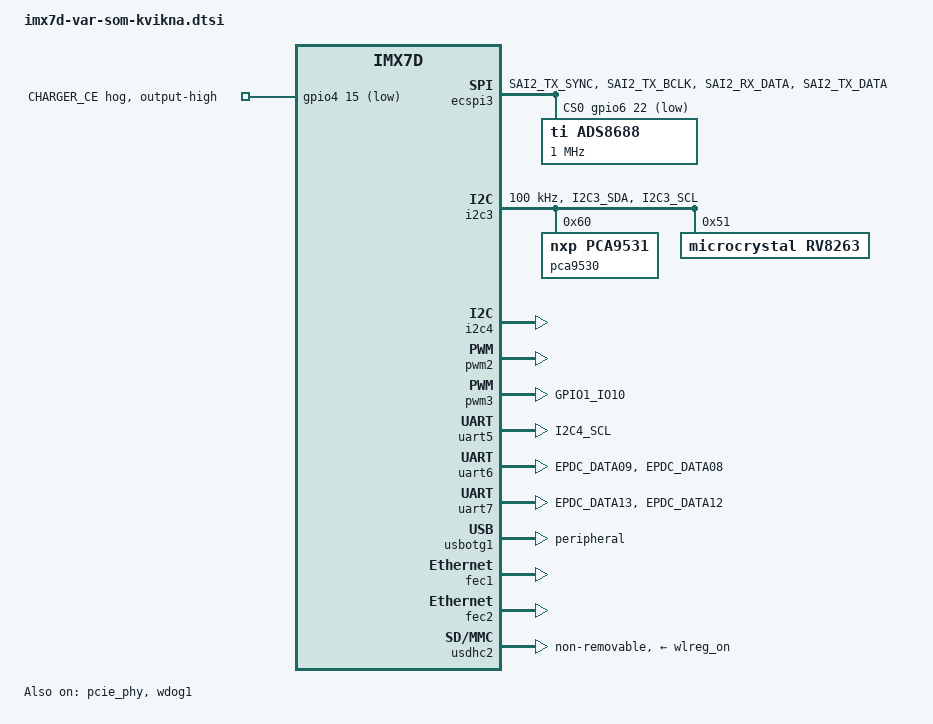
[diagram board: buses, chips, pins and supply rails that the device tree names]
// SPDX-License-Identifier: GPL-2.0+ OR MIT
//
// Kvikna VAR-SOM-MX7 board customisation.
// Ported from the km-amp-dunfell effective DTS diff.

/ {
	/delete-node/ backlight;
	/delete-node/ sound;
	/delete-node/ gpio-keys;
	/delete-node/ pxp_v4l2_out;
};

&adc1 {
	/delete-property/ vref-supply;
	status = "disabled";
};

&adc2 {
	status = "disabled";
};

&csi1 {
	status = "disabled";
	/delete-property/ csi-mux-mipi;
	/delete-property/ fsl,mipi-mode;
	/delete-node/ port;
};

&ecspi1 {
	/delete-node/ ads7846@0;
};

&ecspi3 {
	fsl,spi-num-chipselects = <1>;
	pinctrl-names = "default", "sleep";
	pinctrl-0 = <&pinctrl_ecspi3>;
	cs-gpios = <&gpio6 22 GPIO_ACTIVE_LOW>;
	status = "okay";

	ads8688@0 {
		compatible = "ti,ads8688";
		reg = <0>;
		spi-max-frequency = <1000000>;
	};
};

&flexcan2 {
	status = "disabled";
};

&i2c1 {
	pinctrl-names = "default";
	pinctrl-0 = <&pinctrl_i2c1>;
	/delete-property/ pinctrl-1;
	/delete-property/ scl-gpios;
	/delete-property/ sda-gpios;
};

&i2c2 {
	pinctrl-names = "default";
	pinctrl-0 = <&pinctrl_i2c2>;
	/delete-property/ pinctrl-1;
	/delete-property/ scl-gpios;
	/delete-property/ sda-gpios;
	/delete-node/ audio-codec@1a;
	/delete-node/ wm8731@1a;
	/delete-node/ rtc@68;
	/delete-node/ ov5640_mipi@3c;
};

&i2c3 {
	clock-frequency = <100000>;
	pinctrl-names = "default";
	pinctrl-0 = <&pinctrl_i2c3>;
	status = "okay";

	pca9530@60 {
		compatible = "nxp,pca9531";
		reg = <0x60>;

		green-power {
			label = "pca:green:power";
			type = <1>;
		};
	};

	rv8263@51 {
		compatible = "microcrystal,rv8263";
		reg = <0x51>;
	};
};

&i2c4 {
	status = "okay";
	/delete-property/ clock-frequency;
	/delete-property/ pinctrl-names;
	/delete-property/ pinctrl-0;
	/delete-property/ pinctrl-1;
	/delete-property/ scl-gpios;
	/delete-property/ sda-gpios;
	/delete-node/ ft5x06_ts@38;
};

&lcdif {
	status = "disabled";
	/delete-property/ pinctrl-names;
	/delete-property/ pinctrl-0;
	/delete-property/ display;
	/delete-node/ display0;
};

&mipi_csi {
	status = "disabled";
	/delete-property/ clock-frequency;
	/delete-node/ port;
};

&pcie {
	/delete-property/ pinctrl-names;
	/delete-property/ pinctrl-0;
	/delete-property/ reset-gpio;
	status = "disabled";
};

&pcie_phy {
	status = "okay";
};

&pwm2 {
	pinctrl-names = "default";
	pinctrl-0 = <&pinctrl_pwm2>;
	status = "okay";
};

&pwm3 {
	pinctrl-names = "default";
	pinctrl-0 = <&pinctrl_pwm3>;
	status = "okay";
};

&sai1 {
	#sound-dai-cells = <0>;
	/delete-property/ pinctrl-names;
	/delete-property/ pinctrl-0;
	/delete-property/ pinctrl-1;
	/delete-property/ assigned-clocks;
	/delete-property/ assigned-clock-parents;
	/delete-property/ assigned-clock-rates;
	/delete-property/ fsl,sai-mclk-direction-output;
	status = "disabled";
};

&sai2 {
	/delete-property/ pinctrl-names;
	/delete-property/ pinctrl-0;
	/delete-property/ assigned-clocks;
	/delete-property/ assigned-clock-parents;
	/delete-property/ assigned-clock-rates;
	status = "disabled";
};

&snvs_poweroff {
	status = "disabled";
};

&snvs_pwrkey {
	status = "disabled";
};

&uart5 {
	pinctrl-names = "default";
	pinctrl-0 = <&pinctrl_uart5>;
	assigned-clocks = <&clks IMX7D_UART5_ROOT_SRC>;
	assigned-clock-parents = <&clks IMX7D_OSC_24M_CLK>;
	/* Matches the km-amp-dunfell effective DTB: no RX DMA channel. */
	dma-names = "", "tx";
	status = "okay";
};

&uart6 {
	pinctrl-names = "default";
	pinctrl-0 = <&pinctrl_uart6>;
	assigned-clocks = <&clks IMX7D_UART6_ROOT_SRC>;
	assigned-clock-parents = <&clks IMX7D_OSC_24M_CLK>;
	status = "okay";
};

&uart7 {
	pinctrl-names = "default";
	pinctrl-0 = <&pinctrl_uart7>;
	assigned-clocks = <&clks IMX7D_UART7_ROOT_SRC>;
	assigned-clock-parents = <&clks IMX7D_OSC_24M_CLK>;
	status = "okay";
};

&usbotg1 {
	dr_mode = "peripheral";
};

&usdhc1 {
	enable-sdio-wakeup;
	assigned-clocks = <&clks IMX7D_USDHC1_ROOT_CLK>;
	assigned-clock-rates = <25000000>;
	max-frequency = <25000000>;
};

&reg_usb_otg1_vbus {
	/delete-property/ pinctrl-names;
	/delete-property/ pinctrl-0;
	/delete-property/ gpio;
	/delete-property/ enable-active-high;
};

&reg_usb_otg2_vbus {
	/delete-property/ pinctrl-names;
	/delete-property/ pinctrl-0;
	/delete-property/ gpio;
	/delete-property/ enable-active-high;
};

&reg_hsic_hub_pwr_on {
	/delete-property/ pinctrl-names;
	/delete-property/ pinctrl-0;
	/delete-property/ gpio;
	/delete-property/ enable-active-high;
};

&reg_hsic_hub_connect {
	/delete-property/ pinctrl-names;
	/delete-property/ pinctrl-0;
	/delete-property/ gpio;
	/delete-property/ enable-active-high;
};


/* Keep ENET ownership/reset behaviour aligned with the old kernel DTB.
 * Do not hog the PHY reset pins; let the PHY reset-gpios own them.
 */
&fec1 {
	pinctrl-names = "default", "sleep";
	pinctrl-0 = <&pinctrl_enet1>, <&pinctrl_enet1_rst>, <&pinctrl_enet2_rst>;
	pinctrl-1 = <&pinctrl_enet1_sleep>, <&pinctrl_enet1_rst_sleep>, <&pinctrl_enet2_rst_sleep>;
	status = "okay";
};

&fec2 {
	pinctrl-names = "default", "sleep";
	pinctrl-0 = <&pinctrl_enet2>;
	pinctrl-1 = <&pinctrl_enet2_sleep>;
	status = "okay";
};

/* Old kernel usdhc1_gpiogrp also owns SD1_RESET_B. */
&pinctrl_usdhc1_gpio {
	fsl,pins = <
		MX7D_PAD_SD1_CD_B__GPIO5_IO0		0x59 /* CD */
		MX7D_PAD_GPIO1_IO08__SD1_VSELECT	0x59 /* VSELECT */
		MX7D_PAD_SD1_RESET_B__SD1_RESET_B	0x59 /* SD reset */
	>;
};

/*
 * Battery charger enable.
 * /CHARGER_CE is active-low.  Using GPIO_ACTIVE_LOW + output-high
 * drives the physical pin low, equivalent to:
 *   gpioset -c gpiochip3 -l 15=active
 */
&gpio4 {
	charger_ce_hog {
		gpio-hog;
		gpios = <15 GPIO_ACTIVE_LOW>;
		output-high;
		line-name = "CHARGER_CE";
	};
};

&iomuxc {

	pinctrl-names = "default";
	pinctrl-0 = <&pinctrl_hog_1>;

	pinctrl_hog_1: hoggrp-1 {
		fsl,pins = <
			MX7D_PAD_GPIO1_IO12__GPIO1_IO12		0x59		/* GAUGE_GPOUT */
			MX7D_PAD_SAI1_RX_BCLK__GPIO6_IO17	0x4000007f	/* SCL */

			/* 31438-2 I/O / old-kernel hog pins */
			MX7D_PAD_LCD_DATA01__GPIO3_IO6		0x59		/* SOM pin 23 */
			MX7D_PAD_EPDC_DATA07__GPIO2_IO7		0x14		/* SOM pin 19 */
			MX7D_PAD_EPDC_DATA06__GPIO2_IO6		0x59		/* SOM pin 21 */
			MX7D_PAD_EPDC_BDR0__GPIO2_IO28		0x14		/* SOM pin 73 */
			MX7D_PAD_EPDC_BDR1__GPIO2_IO29		0x59		/* SOM pin 75 */
			MX7D_PAD_SD1_WP__GPIO5_IO1		0x59		/* SOM pin 163 */
			MX7D_PAD_GPIO1_IO11__GPIO1_IO11		0x59		/* ADAPTER_n */
			MX7D_PAD_LCD_DATA22__GPIO3_IO27		0x59		/* SOM pin 20 */
			MX7D_PAD_EPDC_DATA01__GPIO2_IO1		0x14		/* FPGA_USB_RST_n */
			MX7D_PAD_EPDC_DATA04__GPIO2_IO4		0x14		/* ADC_PD_n */
			MX7D_PAD_LCD_DATA23__GPIO3_IO28		0x14		/* LED_RST */
			MX7D_PAD_EPDC_DATA03__GPIO2_IO3		0x14		/* V_ISO_EN */
			MX7D_PAD_EPDC_DATA02__GPIO2_IO2		0x14		/* FPGA_USB_SUSPEND_n */
			MX7D_PAD_EPDC_DATA00__GPIO2_IO0		0x14		/* FPGA_RESET_n */
			MX7D_PAD_EPDC_DATA05__GPIO2_IO5		0x59		/* PB_IN */
			MX7D_PAD_LCD_DATA21__GPIO3_IO26		0x59		/* BRACKET_n */
			MX7D_PAD_LCD_DATA20__GPIO3_IO25		0x59		/* SRESET_n */
			MX7D_PAD_I2C4_SDA__GPIO4_IO15		0x14		/* CHARGER_CE */
		>;
	};

	pinctrl_ecspi3: ecspi3grp {
		fsl,pins = <
			MX7D_PAD_SAI2_TX_SYNC__ECSPI3_MISO	0x2
			MX7D_PAD_SAI2_TX_BCLK__ECSPI3_MOSI	0x2
			MX7D_PAD_SAI2_RX_DATA__ECSPI3_SCLK	0x2
			MX7D_PAD_SAI2_TX_DATA__GPIO6_IO22	0x2
		>;
	};

	pinctrl_i2c3: i2c3grp {
		fsl,pins = <
			MX7D_PAD_I2C3_SDA__I2C3_SDA		0x4000003f
			MX7D_PAD_I2C3_SCL__I2C3_SCL		0x4000003f
		>;
	};

	pinctrl_i2c3_gpio: i2c3gpiogrp {
		fsl,pins = <
			MX7D_PAD_I2C3_SDA__GPIO4_IO13		0x4000007f
			MX7D_PAD_I2C3_SCL__GPIO4_IO12		0x4000007f
		>;
	};

	pinctrl_uart5: uart5grp {
		fsl,pins = <
			/* XPOD_DIN: RX-only serial input on SoM pin 175. */
			MX7D_PAD_I2C4_SCL__UART5_DCE_RX	0x79
		>;
	};

	pinctrl_uart6: uart6grp {
		fsl,pins = <
			MX7D_PAD_EPDC_DATA09__UART6_DCE_TX	0x79
			MX7D_PAD_EPDC_DATA08__UART6_DCE_RX	0x79
		>;
	};

	pinctrl_uart7: uart7grp {
		fsl,pins = <
			MX7D_PAD_EPDC_DATA13__UART7_DCE_TX	0x79
			MX7D_PAD_EPDC_DATA12__UART7_DCE_RX	0x79
		>;
	};

	pinctrl_pwm3: pwm3grp {
		fsl,pins = <
			MX7D_PAD_GPIO1_IO10__PWM3_OUT		0x30
		>;
	};
};

&pinctrl_pwm2 {
	fsl,pins = <
		MX7D_PAD_LPSR_GPIO1_IO02__PWM2_OUT	0x30
	>;
};

&iomuxc_lpsr {
	pinctrl-names = "default";
	pinctrl-0 = <&pinctrl_hog_2 &pinctrl_usbotg2_pwr>;

	pinctrl_hog_2: hoggrp-2 {
		fsl,pins = <
			MX7D_PAD_LPSR_GPIO1_IO05__GPIO1_IO5	0x14
		>;
	};

	pinctrl_wdog: wdoggrp {
		fsl,pins = <
			MX7D_PAD_LPSR_GPIO1_IO00__WDOG1_WDOG_B	0x74
		>;
	};
};

&wdog1 {
	pinctrl-names = "default";
	pinctrl-0 = <&pinctrl_wdog>;
	fsl,ext-reset-output;
	status = "okay";
};


&wlreg_on {
	gpio = <&gpio1 4 GPIO_ACTIVE_HIGH>;	/* MX7D_PAD_LPSR_GPIO1_IO04, WL_REG_ON */
	enable-active-high;
	regulator-boot-on;
	regulator-always-on;
};

&usdhc2 {
	status = "okay";
	non-removable;
	keep-power-in-suspend;
	pm-ignore-notify;
	vmmc-supply = <&wlreg_on>;
};
